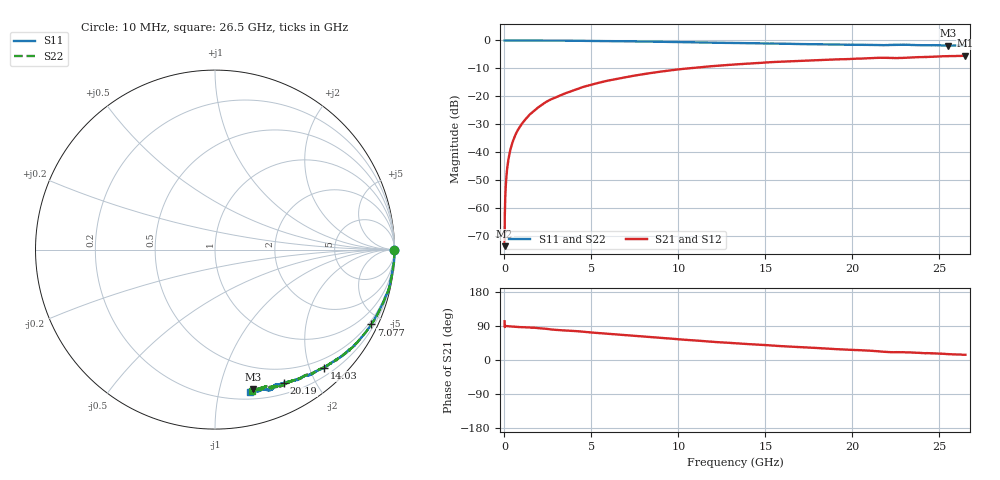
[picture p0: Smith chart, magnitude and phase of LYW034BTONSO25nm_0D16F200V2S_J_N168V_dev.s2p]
!Keysight Technologies,N5222B,MY61253708,A.15.00.15
!Date: Wednesday, June 19, 2024 10:22:43
!Correction: S11(C  2-Port  )
!S21(C  2-Port  )
!S12(C  2-Port  )
!S22(C  2-Port  )
!S2P File: Measurements: S11, S21, S12, S22:
# Hz S  RI  R 50
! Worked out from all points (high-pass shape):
!   2651 points, 10 MHz to 26.5 GHz, reference 50 ohm
!   highest |S21| = -5.44 dB at 26.5 GHz (marker M1); lowest = -73.5 dB at 10 MHz (marker M2)
!   |S21| within 3 dB of the highest: 13.57 GHz to end of sweep
!   lowest |S11| = -1.9 dB at 25.5 GHz (marker M3), VSWR 9.24, Z = 14.4 - j63.5 ohm
!   |S11| at or under -10 dB: nowhere
!   |S22| runs from -1.8 to 0.0 dB; largest |S21 - S12| = 0.0061
!   S11 on the Smith chart (normalised r, x): 10 MHz: open; 7.077 GHz: 0.36, -4.37; 14.03 GHz: 0.34, -2.24; 20.19 GHz: 0.32, -1.60; 26.5 GHz: 0.26, -1.24
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1e7  0.9985 -0.00306  -4.43e-05 0.000206  2.71e-06 0.000521  0.9985 -0.0019
7.997358e7  0.9998 -0.0056  2.63e-05 0.0026  1.93e-05 0.00261  0.9993 -0.00526
1.499472e8  1 -0.0106  5.02e-05 0.0049  4.29e-05 0.00492  0.9996 -0.01
1.899321e8  1 -0.0125  9.54e-05 0.00619  0.000101 0.00622  0.9998 -0.0118
2.399132e8  0.9996 -0.0162  0.000121 0.00782  0.00012 0.00784  0.9993 -0.0155
3.398755e8  0.9997 -0.0226  0.000279 0.0111  0.000233 0.0111  0.9995 -0.0217
4.598302e8  0.9987 -0.0309  0.000447 0.015  0.000437 0.015  0.9986 -0.03
6.197698e8  0.999 -0.0405  0.000842 0.0202  0.000824 0.0202  0.9988 -0.0401
8.096981e8  0.998 -0.0532  0.00135 0.0262  0.00135 0.0263  0.9977 -0.0523
1.43946e9  0.9909 -0.0953  0.00324 0.0468  0.00329 0.0468  0.9934 -0.0922
2.319128e9  0.9825 -0.1489  0.00947 0.0763  0.0096 0.0764  0.9837 -0.1494
3.208792e9  0.9722 -0.2046  0.0204 0.1026  0.0205 0.1026  0.9722 -0.2038
4.428332e9  0.9443 -0.2768  0.0372 0.1397  0.0373 0.1398  0.9461 -0.274
7.077332e9  0.8706 -0.4172  0.0947 0.2032  0.0953 0.203  0.8722 -0.4156
8.846664e9  0.8087 -0.4971  0.1415 0.2346  0.1421 0.2345  0.8103 -0.4957
1.3255e10  0.6363 -0.6385  0.2668 0.2602  0.2682 0.2596  0.6394 -0.6376
1.403471e10  0.6069 -0.6582  0.2873 0.2584  0.2881 0.2577  0.6086 -0.6537
1.767333e10  0.4667 -0.7203  0.3725 0.2346  0.3753 0.2328  0.4757 -0.7179
2.019238e10  0.3858 -0.7443  0.4208 0.2096  0.4232 0.2063  0.3977 -0.7421
2.209166e10  0.3322 -0.7562  0.4558 0.1744  0.4572 0.1714  0.3243 -0.7619
2.550038e10  0.2126 -0.7762  0.5056 0.1389  0.5069 0.1386  0.2318 -0.778
2.65e10  0.1932 -0.7907  0.5193 0.1279  0.5185 0.1239  0.2051 -0.7882
